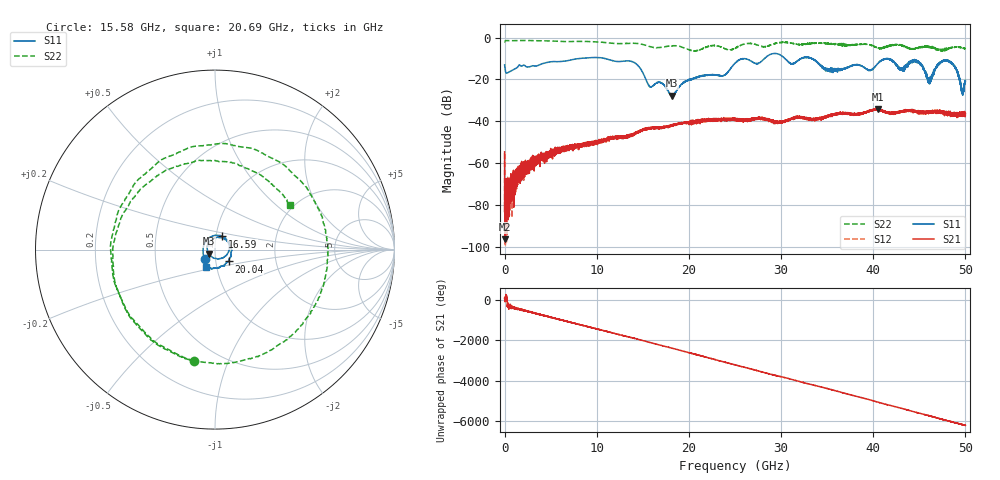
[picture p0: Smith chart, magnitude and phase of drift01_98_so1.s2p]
!Created with skrf (http://scikit-rf.org).
# Hz S RI R 50.0
!freq ReS11 ImS11 ReS21 ImS21 ReS12 ImS12 ReS22 ImS22
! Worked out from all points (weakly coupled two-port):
!   10001 points, 300 kHz to 50 GHz, reference 50 ohm
!   highest |S21| = -34.10 dB at 40.47 GHz (marker M1); lowest = -96.3 dB at 25.3 MHz (marker M2)
!   lowest |S11| = -27.8 dB at 18.14 GHz (marker M3), VSWR 1.08, Z = 46.7 - j2.13 ohm
!   |S11| at or under -10 dB: start of sweep to 8.083 GHz; 10.91 GHz to 26 GHz (15.09 GHz wide, 81.8 % of centre); 41.58 GHz to end of sweep (the widest 3 of 18)
!   |S22| runs from -6.5 to -1.4 dB; largest |S21 - S12| = 0.004
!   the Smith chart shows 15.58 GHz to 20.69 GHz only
!   S11 on the Smith chart (normalised r, x): 15.58 GHz: 0.89, -0.10; 16.59 GHz: 1.07, +0.16; 20.04 GHz: 1.15, -0.15; 20.69 GHz: 0.89, -0.17
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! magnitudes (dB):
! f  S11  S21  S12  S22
! 300 kHz  -13.1  -54.6  -55.4  -2.1
! 25.3 MHz  -13.9  -96.3  -72.9  -1.9
! 275.3 MHz  -16.9  -67.6  -74.7  -1.4
! 2.575 GHz  -14.0  -60.1  -61.1  -1.4
! 8.335 GHz  -9.9  -52.1  -51.5  -1.8
! 13.87 GHz  -11.5  -46.5  -46.8  -2.7
! 15.58 GHz  -22.3  -43.4  -43.2  -4.0
! 16.59 GHz  -21.5  -43.2  -43.6  -4.7
! 16.67 GHz  -21.3  -43.1  -43.0  -4.8
! 18.14 GHz  -27.8  -42.2  -41.7  -3.9
! 20.04 GHz  -20.0  -41.2  -40.4  -5.9
! 20.69 GHz  -19.2  -39.7  -40.4  -6.3
! 25 GHz  -12.2  -38.4  -39.4  -5.1
! 33.34 GHz  -10.0  -38.9  -38.8  -2.6
! 35.25 GHz  -15.3  -37.3  -37.3  -2.9
! 40.47 GHz  -12.6  -34.1  -34.2  -4.9
! 41.67 GHz  -10.3  -36.3  -35.8  -4.3
! 43.07 GHz  -15.2  -35.2  -35.4  -3.5
! 44.78 GHz  -12.2  -35.7  -35.5  -5.0
! 46.11 GHz  -19.9  -35.3  -35.6  -4.7
! 48.07 GHz  -11.2  -35.7  -36.3  -4.8
! 50 GHz  -20.9  -36.2  -36.0  -5.3
